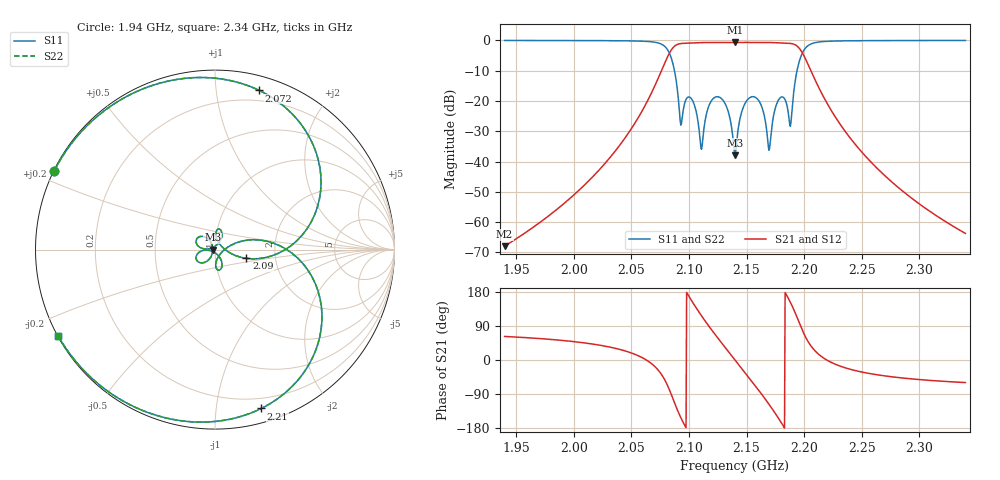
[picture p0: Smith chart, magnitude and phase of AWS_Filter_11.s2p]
!Port 1 is shunt  connected
!Port 2 is shunt  connected
!prototype= pole placed tchebycheff
!n=  5,  np= 0,  rl=  18.000dB
!transform= band pass
!f0= 2140.000MHz,  bw=  100.000MHz, q0=1000.000
!fstart= 1940.000MHz, fstep=  0.500MHz, fstop= 2340.000MHz
# MHZ S MA R 50
!Freq  Mag(S11)  Arg(S11)  Mag(S21)  Arg(S21)  Mag(S12)  Arg(S12)  Mag(S22)  Arg(S22)
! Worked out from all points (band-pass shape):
!   801 points, 1.94 GHz to 2.34 GHz, reference 50 ohm
!   highest |S21| = -0.63 dB at 2.14 GHz (marker M1); lowest = -67.9 dB at 1.94 GHz (marker M2)
!   |S21| within 3 dB of the highest: 2.084 GHz to 2.198 GHz (113.8 MHz wide, 5.31 % of centre)
!   lowest |S11| = -38.0 dB at 2.14 GHz (marker M3), VSWR 1.03, Z = 48.8 - j0.00028 ohm
!   |S11| at or under -10 dB: 2.087 GHz to 2.194 GHz (106.4 MHz wide, 4.97 % of centre)
!   |S22| runs from -38.0 to 0.0 dB; largest |S21 - S12| = 0
!   S11 on the Smith chart (normalised r, x): 1.94 GHz: 0.00, +0.23; 2.072 GHz: 0.11, +1.31; 2.09 GHz: 1.42, -0.14; 2.21 GHz: 0.11, -1.33; 2.34 GHz: 0.00, -0.26
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1940  0.9973 153.8  0.000401 62.1  0.000401 62.1  0.9973 153.8
2007  0.9933 138.6  0.003715 46.0  0.003715 46.0  0.9933 138.6
2072  0.9205 74.5  0.2078 -22.1  0.2078 -22.1  0.9205 74.5
2073.5  0.9055 69.7  0.2413 -27.3  0.2413 -27.3  0.9055 69.7
2082  0.6734 29.1  0.5642 -71.0  0.5642 -71.0  0.6734 29.1
2089.5  0.1815 -15.6  0.8496 -128.3  0.8496 -128.3  0.1815 -15.6
2093.5  0.04223 56.9  0.8886 -155.6  0.8886 -155.6  0.04223 56.9
2100  0.1164 78.3  0.9023 168.1  0.9023 168.1  0.1164 78.3
2110.5  0.0164 102.7  0.9201 118.5  0.9201 118.5  0.0164 102.7
2114.5  0.05287 176.5  0.9219 101.1  0.9219 101.1  0.05287 176.5
2128  0.1106 138.9  0.9233 46.5  0.9233 46.5  0.1106 138.9
2140  0.01265 -180.0  0.9302 -0.0  0.9302 -0.0  0.01265 -180.0
2149.5  0.09664 -131.0  0.9257 -36.7  0.9257 -36.7  0.09664 -131.0
2162.5  0.0869 -171.3  0.9232 -87.5  0.9232 -87.5  0.0869 -171.3
2169.5  0.01536 -122.2  0.9225 -116.8  0.9225 -116.8  0.01536 -122.2
2181.5  0.1161 -80.6  0.9044 -171.7  0.9044 -171.7  0.1161 -80.6
2188  0.0382 -37.5  0.8912 152.8  0.8912 152.8  0.0382 -37.5
2194  0.3271 6.4  0.8027 111.5  0.8027 111.5  0.3271 6.4
2207  0.8891 -64.1  0.2834 32.8  0.2834 32.8  0.8891 -64.1
2210  0.9219 -73.8  0.2131 22.5  0.2131 22.5  0.9219 -73.8
2273.5  0.9932 -135.7  0.005096 -43.3  0.005096 -43.3  0.9932 -135.7
2340  0.9973 -151.1  0.0006512 -59.6  0.0006512 -59.6  0.9973 -151.1
